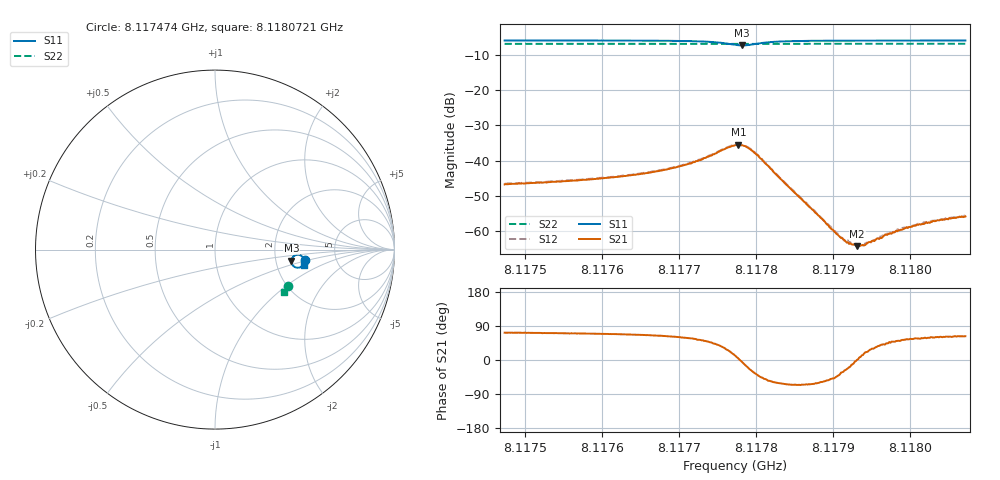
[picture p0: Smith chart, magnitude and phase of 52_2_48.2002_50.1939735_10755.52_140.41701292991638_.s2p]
#  HZ  S  RI  R  50.00
! Rohde & Schwarz Vector Network Analyzer
! Rohde-Schwarz,ZNB20-2Port,1311601062101988,3.16
! Created: UTC 3/20/2024, 11:38:19 AM
! freq[Hz]  re:S11  im:S11  re:S21  im:S21  re:S12  im:S12  re:S22  im:S22
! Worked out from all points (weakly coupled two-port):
!   401 points, 8.117474 GHz to 8.1180721 GHz, reference 50 ohm
!   highest |S21| = -35.49 dB at 8.1177775 GHz (marker M1); lowest = -64.2 dB at 8.1179316 GHz (marker M2)
!   lowest |S11| = -7.3 dB at 8.117782 GHz (marker M3), VSWR 2.51, Z = 122 - j18.5 ohm
!   |S11| at or under -10 dB: nowhere
!   |S22| runs from -6.9 to -6.9 dB; largest |S21 - S12| = 0.0005
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8.11747397e9  0.502 -0.0556  0.00141 0.0044  0.00149 0.00448  0.4053 -0.2002
8.11757416e9  0.5 -0.0661  0.00184 0.005  0.00193 0.00508  0.4024 -0.2067
8.11763398e9  0.4974 -0.0741  0.00238 0.00568  0.00249 0.00577  0.4007 -0.2107
8.11767436e9  0.4941 -0.0813  0.00313 0.00643  0.00326 0.00655  0.399 -0.2132
8.11771773e9  0.4849 -0.0923  0.00511 0.00787  0.00541 0.00792  0.3973 -0.2163
8.11775511e9  0.4569 -0.1009  0.0113 0.00812  0.0115 0.00823  0.3947 -0.2185
8.11777306e9  0.4303 -0.0834  0.0163 0.0034  0.0165 0.00319  0.3934 -0.2187
8.11777754e9  0.4261 -0.0734  0.0168 0.0011  0.017 0.000769  0.3931 -0.2184
8.11778203e9  0.4252 -0.0619  0.0165 -0.00146  0.0168 -0.00152  0.3932 -0.2181
8.11778951e9  0.432 -0.044  0.0145 -0.00499  0.0147 -0.00536  0.3933 -0.2178
8.11780147e9  0.4534 -0.0297  0.00943 -0.00757  0.00957 -0.0078  0.3942 -0.2182
8.11782839e9  0.4849 -0.0376  0.003 -0.0053  0.003 -0.00545  0.3945 -0.2206
8.11787325e9  0.4966 -0.0557  0.000919 -0.00182  0.000923 -0.00185  0.3935 -0.2241
8.11791363e9  0.4984 -0.065  0.000656 -0.000397  0.000654 -0.000413  0.3922 -0.2269
8.11792111e9  0.4986 -0.0664  0.000625 -0.000221  0.00065 -0.000224  0.3921 -0.2273
8.11793158e9  0.4987 -0.0682  0.000617 7.28e-06  0.000646 -1.83e-05  0.3916 -0.2281
8.11794055e9  0.4988 -0.0697  0.000603 0.000183  0.00062 0.000156  0.3912 -0.2288
8.11797345e9  0.4987 -0.0744  0.000629 0.000683  0.000648 0.000673  0.3904 -0.2309
8.1179899e9  0.4985 -0.0764  0.000635 0.000841  0.000704 0.000868  0.3896 -0.232
8.11801233e9  0.4983 -0.0791  0.000699 0.00105  0.000718 0.00105  0.3891 -0.2335
8.11804972e9  0.4978 -0.0831  0.000706 0.0013  0.000749 0.00134  0.3879 -0.2355
8.11807215e9  0.4975 -0.0853  0.000746 0.00145  0.000739 0.00148  0.3869 -0.237
